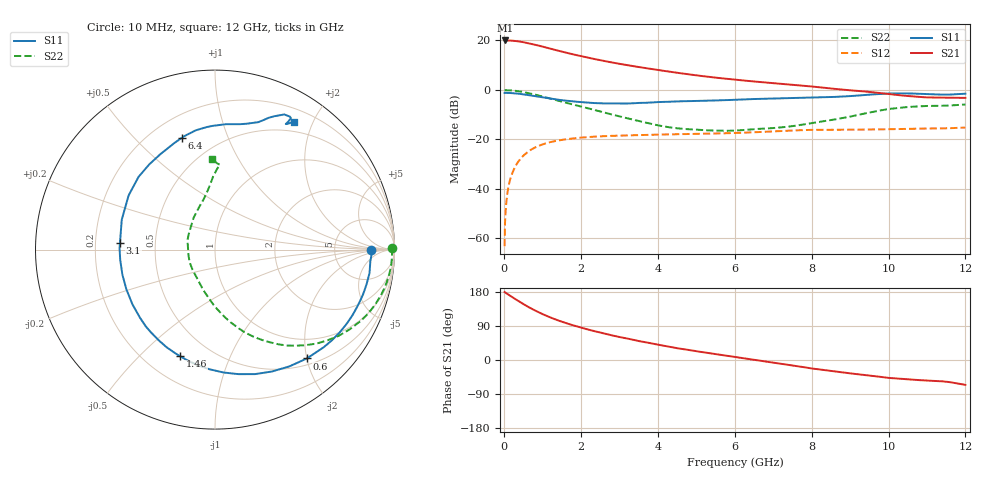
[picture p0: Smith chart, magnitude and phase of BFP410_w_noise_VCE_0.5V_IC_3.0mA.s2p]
! Infineon Technologies  Discrete & RF Semiconductors
! BFP410
! VCE =  0.5 V,  IC =  3.0 mA
! Common Emitter S-Parameters:  Nov 2015
# GHz  S  MA  R  50
!  f  S11  S21  S12  S22
! GHz  MAG  ANG  MAG  ANG  MAG  ANG  MAG  ANG
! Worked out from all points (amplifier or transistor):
!   243 points, 10 MHz to 12 GHz, reference 50 ohm
!   highest |S21| = 20.0 dB at 20 MHz (marker M1)
!   |S21| within 3 dB of that: start of sweep to 1.127 GHz
!   unconditionally stable (mu >= 1): 3.561 GHz to end of sweep
!   at 240 MHz: K = 0.07, MSG = 26.2 dB, |S12| = -32.5 dB
!   at 1.84 GHz: K = 0.52, MSG = 16.8 dB, |S12| = -19.5 dB
!   at 12 GHz: K = 1.08, MAG = 4.3 dB, |S12| = -15.2 dB
!   lowest NFmin = 0.87 dB at 900 MHz
!   S11 on the Smith chart (normalised r, x): 10 MHz: 14, -1; 600 MHz: 0.61, -2.00; 1.46 GHz: 0.34, -0.67; 3.1 GHz: 0.31, +0.03; 6.4 GHz: 0.32, +0.69; 12 GHz: 0.36, +1.74
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0.01  0.8693 -0.3  9.81 179.5  0.0007 73.3  0.9862 0.4
0.02  0.8733 -1.6  9.963 178.7  0.002 90.9  0.9863 -0.8
0.05  0.8679 -4.2  9.907 176.1  0.0049 87.5  0.987 -2.6
0.105  0.8702 -9.0  9.945 173.0  0.0105 85.0  0.9846 -5.6
0.3  0.849 -25.4  9.705 160.0  0.0295 75.7  0.9568 -15.9
0.5  0.8141 -41.9  9.195 147.5  0.0472 66.9  0.9053 -25.9
0.6  0.7938 -49.8  8.865 141.4  0.0549 62.7  0.873 -30.5
0.8  0.7499 -64.9  8.166 130.8  0.0686 55.1  0.8049 -38.9
1  0.7061 -79.3  7.481 121.0  0.0796 48.4  0.7337 -46.5
1.22  0.6635 -93.8  6.754 111.5  0.0891 42.1  0.6611 -53.8
1.46  0.6246 -108.2  6.034 102.5  0.0968 36.4  0.589 -60.4
1.7  0.595 -121.7  5.439 94.3  0.1029 31.4  0.5279 -66.4
2.02  0.5647 -137.7  4.762 85.0  0.1092 26.1  0.4587 -73.2
2.58  0.5347 -163.9  3.865 70.1  0.1163 18.2  0.3528 -85.0
3.1  0.5308 175.8  3.26 58.7  0.12 12.8  0.2792 -96.1
4.1  0.5702 145.5  2.459 38.6  0.1258 5.1  0.1864 -123.4
5  0.5997 127.6  1.966 23.0  0.1293 -0.2  0.1579 -153.5
6.1  0.6358 110.8  1.584 6.5  0.1357 -5.1  0.1525 172.4
6.4  0.6492 106.6  1.504 2.1  0.1384 -6.4  0.1591 163.9
8.2  0.7056 81.9  1.129 -24.9  0.1562 -18.7  0.2255 118.9
10.2  0.848 61.7  0.795 -48.7  0.1617 -29.6  0.4275 90.0
12  0.8385 58.3  0.69 -65.6  0.1735 -41.0  0.5067 91.6
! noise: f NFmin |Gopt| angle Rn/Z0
0.45  0.92  0.39  6  0.24
0.9  0.87  0.38  20  0.22
1.8  1.07  0.29  53  0.19
2.4  1.11  0.25  58  0.19
5.5  2.12  0.33  -139  0.2
10  3.64  0.68  -55  1.98
